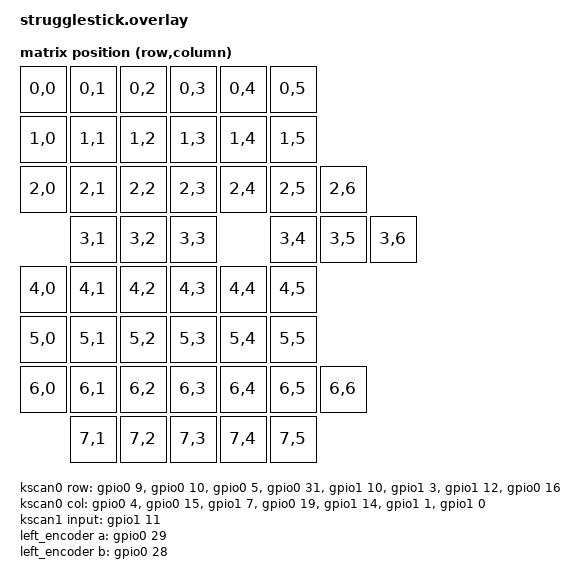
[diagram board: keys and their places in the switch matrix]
/*
 * Copyright (c) 2020 The ZMK Contributors
 *
 * SPDX-License-Identifier: MIT
 */

#include <dt-bindings/zmk/matrix_transform.h>
#include <zephyr/dt-bindings/input/input-event-codes.h>
#include <input/processors.dtsi>
#include "strugglestick-layouts.dtsi"


&physical_layout0 {
    transform = <&matrix_transform>;
};

/ {
    chosen {
        zmk,kscan = &kscan0;
		zmk,physical-layout = &physical_layout0;
    };

    kscan0: kscan_matrix {
        compatible = "zmk,kscan-gpio-matrix";
        wakeup-source;	
        diode-direction = "col2row";

         col-gpios
            = <&gpio0 4 GPIO_ACTIVE_HIGH>
			, <&gpio0 15 GPIO_ACTIVE_HIGH>
            , <&gpio1 7 GPIO_ACTIVE_HIGH>
            , <&gpio0 19 GPIO_ACTIVE_HIGH>
            , <&gpio1 14 GPIO_ACTIVE_HIGH>
            , <&gpio1 1 GPIO_ACTIVE_HIGH>
            , <&gpio1 0 GPIO_ACTIVE_HIGH>
            ;

        row-gpios
            = <&gpio0 9 (GPIO_ACTIVE_HIGH | GPIO_PULL_DOWN)>
            , <&gpio0 10 (GPIO_ACTIVE_HIGH | GPIO_PULL_DOWN)>
            , <&gpio0 5 (GPIO_ACTIVE_HIGH | GPIO_PULL_DOWN)>
            , <&gpio0 31 (GPIO_ACTIVE_HIGH | GPIO_PULL_DOWN)>
            , <&gpio1 10 (GPIO_ACTIVE_HIGH | GPIO_PULL_DOWN)>
            , <&gpio1 3 (GPIO_ACTIVE_HIGH | GPIO_PULL_DOWN)>
            , <&gpio1 12 (GPIO_ACTIVE_HIGH | GPIO_PULL_DOWN)>
            , <&gpio0 16 (GPIO_ACTIVE_HIGH | GPIO_PULL_DOWN)>
            ;
    };

	    matrix_transform: keymap_transform_0 {
        compatible = "zmk,matrix-transform";
        rows = <5>;
        columns = <4>;
        map = <
            RC(0,0) RC(0,1) RC(0,2) RC(0,3) RC(0,4) RC(0,5)                                     
            RC(1,0) RC(1,1) RC(1,2) RC(1,3) RC(1,4) RC(1,5)                                     
            RC(2,0) RC(2,1) RC(2,2) RC(2,3) RC(2,4) RC(2,5)       RC(2,6)         
                    RC(3,1) RC(3,2) RC(3,3) RC(3,4) RC(3,5)               RC(3,6)               

			RC(4,0) RC(4,1) RC(4,2) RC(4,3) RC(4,4) RC(4,5)
			RC(5,0) RC(5,1) RC(5,2) RC(5,3) RC(5,4) RC(5,5)
			RC(6,0) RC(6,1) RC(6,2) RC(6,3) RC(6,4) RC(6,5)       RC(6,6)
					RC(7,1) RC(7,2) RC(7,3) RC(7,4) RC(7,5)
        >;
    };

    kscan1: kscan_joystick_button {
		compatible = "zmk,kscan-gpio-direct";
		wakeup-source;
		toggle-mode;
		input-gpios = <&gpio1 11 (GPIO_ACTIVE_HIGH | GPIO_PULL_UP)>
		;
	};

	left_encoder: encoder_left {
		compatible = "alps,ec11";
		label = "encoder";
		a-gpios = <&gpio0 29 (GPIO_ACTIVE_HIGH | GPIO_PULL_UP)>;
		b-gpios = <&gpio0 28 (GPIO_ACTIVE_HIGH | GPIO_PULL_UP)>;
		steps = <30>;
		status = "okay";
	};

	sensors: encoder_sensors {
		compatible = "zmk,keymap-sensors";
		sensors = <&left_encoder>;
		triggers-per-rotation = <15>;
	};

	
	joystick_listener {
		compatible = "zmk,input-listener";
		device = <&anin0>;
	};

	EXT_POWER {
	compatible = "zmk,ext-power-generic";
	control-gpios = <&gpio0 13 GPIO_ACTIVE_HIGH>;
	init-delay-ms = <50>;
    };
	
};

&adc {
    status = "okay";
};

&gpio0 {
    status = "okay";
};

&gpio1 {
    status = "okay";
};

/ {
	anin0: analog_input_0 {
		compatible = "zmk,analog-input";
		sampling-hz = <100>;

		y-ch {
			io-channels = <&adc 0>;
			mv-mid = <1760>;
			mv-min-max = <800>;
			mv-deadzone = <100>;
			scale-multiplier = <1>;
			scale-divisor = <6>;
			evt-type = <INPUT_EV_REL>;
			input-code = <INPUT_REL_Y>;
			report-on-change-only;
		};
		x-ch {
			io-channels = <&adc 1>;
			mv-mid = <1660>;
			mv-min-max = <800>;
			mv-deadzone = <100>;
			scale-multiplier = <1>;
			scale-divisor = <6>;
			evt-type = <INPUT_EV_REL>;
			input-code = <INPUT_REL_X>;
			report-on-change-only;
		};
	};
};

